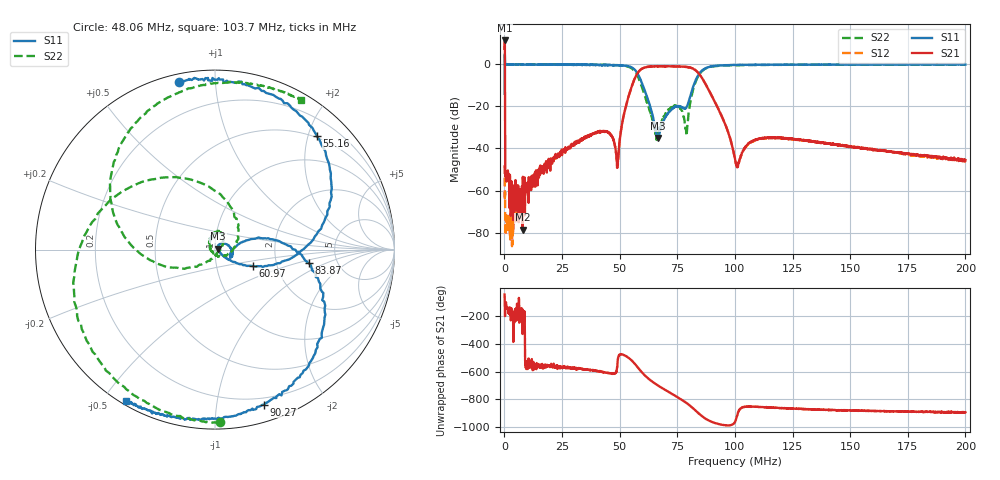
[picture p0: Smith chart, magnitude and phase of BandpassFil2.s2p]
! 19-Feb-26 2:35:52 PM
! E:\VNA_MEASUREMENTS\RECBLOCK\BANDPASSFIL2.S2P
! CHANNEL.1
! TR.MEASUREMENT
! CORRECTED.DATA
# GHZ S RI R 50.0
! FREQ.GHZ  S11RE  S11IM  S21RE  S21IM  S12RE  S12IM  S22RE  S22IM
!; PortSelection: Port_12
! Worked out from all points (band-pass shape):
!   2000 points, 50 kHz to 200 MHz, reference 50 ohm
!   highest |S21| = 11.39 dB at 150 kHz (marker M1); lowest = -78.6 dB at 7.852 MHz (marker M2)
!   |S21| within 3 dB of the highest: 74.53 kHz to 160.4 kHz (85.91 kHz wide, 73.1 % of centre)
!   lowest |S11| = -35.1 dB at 66.57 MHz (marker M3), VSWR 1.04, Z = 51.7 + j0.571 ohm
!   |S11| at or under -10 dB: start of sweep to 70.83 kHz; 60.03 MHz to 82.1 MHz (22.07 MHz wide, 31.1 % of centre)
!   |S22| runs from -35.9 to 0.1 dB; largest |S21 - S12| = 3.7
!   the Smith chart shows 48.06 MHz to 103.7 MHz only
!   S11 on the Smith chart (normalised r, x): 48.06 MHz: 0.04, +0.81; 55.16 MHz: 0.47, +2.16; 60.97 MHz: 1.50, -0.30; 83.87 MHz: 3.08, -0.65; 90.27 MHz: 0.14, -1.35; 103.7 MHz: 0.02, -0.57
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5e-05  0.0339 0.1995  1.563 -1.752  0.00386 0.00106  0.946 -0.0924
0.000150025  -1.724 0.0833  -2.866 -2.357  0.000588 -3.85e-05  1.005 -0.0122
0.001350325  -0.9979 0.0277  -0.00152 -0.000904  -6e-06 -0.000115  0.9944 -0.0221
0.007851951  -0.9963 0.1261  0.000103 5.77e-05  -0.000617 0.000129  0.9953 -0.1193
0.03345835  -0.7759 0.5918  -0.0131 0.0113  -0.0125 0.0105  0.7749 -0.6258
0.04426106  -0.4219 0.871  -0.00947 0.0238  -0.00936 0.0231  0.3497 -0.9158
0.04806201  -0.1997 0.9324  -0.00395 0.0103  -0.00321 0.00979  0.0278 -0.9603
0.04936233  -0.0947 0.949  -0.00463 -0.00391  -0.00421 -0.00392  -0.117 -0.9513
0.05516378  0.5678 0.6319  -0.277 -0.1005  -0.2778 -0.0962  -0.7901 -0.1854
0.05786446  0.5761 0.1023  -0.542 0.3314  -0.5339 0.3247  -0.3229 0.3947
0.06096523  0.2118 -0.093  -0.0188 0.8473  -0.0182 0.8447  0.1313 0.1133
0.06656663  0.0168 0.00552  0.8528 0.3134  0.8475 0.3117  -0.0211 -0.000122
0.06676668  0.0172 0.00836  0.8558 0.283  0.8609 0.2843  -0.0229 -0.00101
0.07676919  0.087 -0.0417  0.1397 -0.8746  0.1383 -0.8748  0.045 0.069
0.07906976  0.0973 -0.00358  -0.2551 -0.8324  -0.2467 -0.8316  0.0125 -0.0156
0.08387096  0.5223 -0.0759  -0.6419 -0.0723  -0.6423 -0.0764  -0.5005 0.0657
0.09027256  0.2722 -0.8641  -0.0767 0.146  -0.0774 0.1468  -0.2356 0.8608
0.100075  -0.3696 -0.8966  -0.0027 0.0047  -0.00267 0.00464  0.3685 0.8831
0.1036759  -0.497 -0.8413  -0.00651 -0.00665  -0.00637 -0.00627  0.4809 0.8348
0.1333833  -0.8805 -0.442  -0.013 -0.00729  -0.0125 -0.00699  0.8405 0.4963
0.1666917  -0.9726 -0.1892  -0.00804 -0.00228  -0.00835 -0.00195  0.9384 0.2946
0.2  -0.9899 -0.0271  -0.00529 -0.000706  -0.0052 -0.00069  0.971 0.1619
